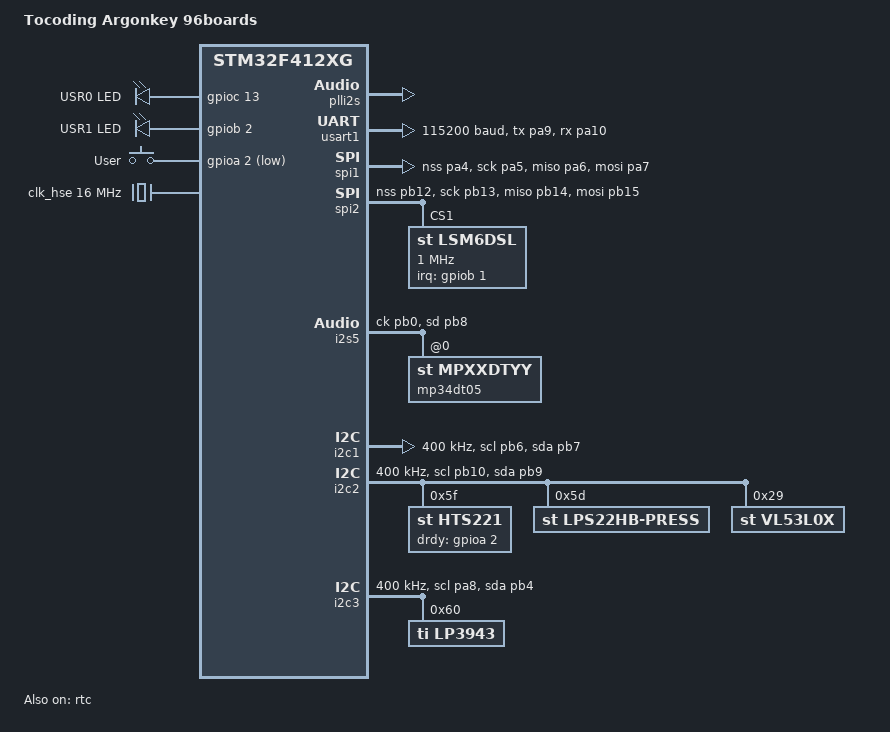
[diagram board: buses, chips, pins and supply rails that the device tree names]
/*
 * Copyright (c) 2018 STMicroelectronics
 *
 * SPDX-License-Identifier: Apache-2.0
 */

/dts-v1/;
#include <st/f4/stm32f412Xg.dtsi>
#include <st/f4/stm32f412c(e-g)ux-pinctrl.dtsi>
#include <zephyr/dt-bindings/input/input-event-codes.h>

/ {
	model = "Tocoding Argonkey 96boards";
	compatible = "tocoding,argonkey";

	chosen {
		zephyr,console = &usart1;
		zephyr,shell-uart = &usart1;
		zephyr,sram = &sram0;
		zephyr,flash = &flash0;
	};

	leds {
		compatible = "gpio-leds";

		green_led_0: led_0 {
			gpios = <&gpioc 13 GPIO_ACTIVE_HIGH>;
			label = "USR0 LED";
		};

		green_led_1: led_1 {
			gpios = <&gpiob 2 GPIO_ACTIVE_HIGH>;
			label = "USR1 LED";
		};
	};

	gpio_keys {
		compatible = "gpio-keys";

		user_button: button {
			label = "User";
			gpios = <&gpioa 2 GPIO_ACTIVE_LOW>;
			zephyr,code = <INPUT_KEY_0>;
		};
	};

	aliases {
		led0 = &green_led_0;
		led1 = &green_led_1;
		sw0 = &user_button;
		accel0 = &lsm6dsl;
	};
};

&clk_lsi {
	status = "okay";
};

&clk_hse {
	clock-frequency = <DT_FREQ_M(16)>;
	status = "okay";
};

&pll {
	div-m = <8>;
	mul-n = <84>;
	div-p = <2>;
	div-q = <8>;
	clocks = <&clk_hse>;
	status = "okay";
};

&plli2s {
	div-m = <8>;
	mul-n = <192>;
	div-r = <3>;
	div-q = <4>;
	clocks = <&clk_hse>;
	status = "okay"; /* 48MHz on PLLI2SQ */
};

&rcc {
	clocks = <&pll>;
	clock-frequency = <DT_FREQ_M(84)>;
	ahb-prescaler = <1>;
	apb1-prescaler = <2>;
	/* APB2 clock is fixed at 42MHz to prevent known SPI/I2S bug */
	apb2-prescaler = <2>;
};

&usart1 {
	pinctrl-0 = <&usart1_tx_pa9 &usart1_rx_pa10>;
	pinctrl-names = "default";
	current-speed = <115200>;
	status = "okay";
};

&spi1_nss_pa4 {
	slew-rate = "very-high-speed";
};

&spi1 {
	pinctrl-0 = <&spi1_nss_pa4 &spi1_sck_pa5
		     &spi1_miso_pa6 &spi1_mosi_pa7>;
	pinctrl-names = "default";
	status = "okay";
};

&spi2_nss_pb12 {
	slew-rate = "very-high-speed";
};

&spi2 {
	pinctrl-0 = <&spi2_nss_pb12 &spi2_sck_pb13
		     &spi2_miso_pb14 &spi2_mosi_pb15>;
	pinctrl-names = "default";
	status = "okay";

	/* ST Microelectronics LSM6DSL accel/gyro sensor */
	lsm6dsl: lsm6dsl@1 {
		compatible = "st,lsm6dsl";
		reg = <1>;
		spi-max-frequency = <1000000>;
		irq-gpios = <&gpiob 1 GPIO_ACTIVE_HIGH>;
	};
};

&dma2 {
	status = "okay";
};

&i2s5 {
	status = "okay";
	pinctrl-0 = <&i2s5_ck_pb0 &i2s5_sd_pb8>;
	pinctrl-names = "default";

	mp34dt05@0 {
		compatible = "st,mpxxdtyy";
		reg = <0>;
	};
};

&i2c1 {
	pinctrl-0 = <&i2c1_scl_pb6 &i2c1_sda_pb7>;
	pinctrl-names = "default";
	status = "okay";
	clock-frequency = <I2C_BITRATE_FAST>;
};

&i2c2 {
	pinctrl-0 = <&i2c2_scl_pb10 &i2c2_sda_pb9>;
	pinctrl-names = "default";
	status = "okay";
	clock-frequency = <I2C_BITRATE_FAST>;

	hts221@5f {
		compatible = "st,hts221";
		reg = <0x5f>;
		drdy-gpios = <&gpioa 2 GPIO_ACTIVE_HIGH>;
	};

	lps22hb-press@5d {
		compatible = "st,lps22hb-press";
		reg = <0x5d>;
	};

	vl53l0x@29 {
		compatible = "st,vl53l0x";
		reg = <0x29>;
	};
};

&i2c3 {
	pinctrl-0 = <&i2c3_scl_pa8 &i2c3_sda_pb4>;
	pinctrl-names = "default";
	status = "okay";
	clock-frequency = <I2C_BITRATE_FAST>;

	lp3943@60 {
		compatible = "ti,lp3943";
		reg = <0x60>;
	};
};

&rtc {
	clocks = <&rcc STM32_CLOCK(APB1, 28)>,
		 <&rcc STM32_SRC_LSI RTC_SEL(2)>;
	status = "okay";
};
